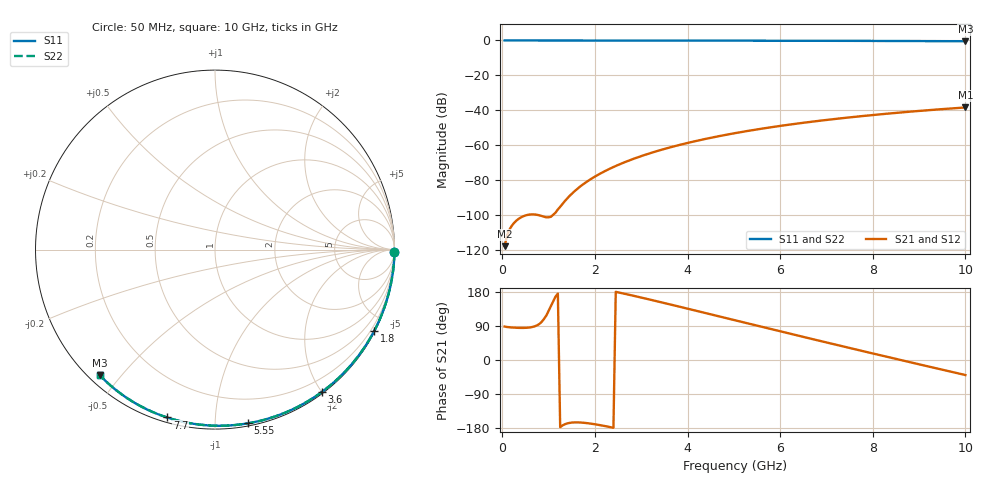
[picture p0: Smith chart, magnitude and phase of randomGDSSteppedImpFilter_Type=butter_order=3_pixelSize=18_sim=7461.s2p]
! freq	dB(S11)	phase(S11)	dB(S12)	phase(S12)
!  dB(S21)	phase(S21)	dB(S22)	phase(S22)
!S-par simulation data
#  GHz  S  DB  R 50
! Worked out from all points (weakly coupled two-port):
!   200 points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, 50 MHz to 10 GHz, reference 50 ohm
!   highest |S21| = -38.35 dB at 10 GHz (marker M1); lowest = -117.7 dB at 50 MHz (marker M2)
!   lowest |S11| = -0.4 dB at 10 GHz (marker M3), VSWR 38.80, Z = 1.54 - j22 ohm
!   |S11| at or under -10 dB: nowhere
!   |S22| runs from -0.4 to 0.0 dB; largest |S21 - S12| = 0
!   S11 on the Smith chart (normalised r, x): 50 MHz: open; 1.8 GHz: 0.04, -4.14; 3.6 GHz: 0.02, -2.00; 5.55 GHz: 0.02, -1.21; 7.7 GHz: 0.02, -0.75; 10 GHz: 0.03, -0.44
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0.05  -0.00 -0.8  -117.75 88.3  -117.75 88.3  -0.00 -0.8
0.9  -0.02 -13.7  -100.93 108.2  -100.93 108.2  -0.02 -13.7
1.75  -0.03 -26.4  -82.25 -165.6  -82.25 -165.6  -0.03 -26.4
1.8  -0.03 -27.2  -81.30 -166.2  -81.30 -166.2  -0.03 -27.2
1.85  -0.04 -27.9  -80.40 -166.9  -80.40 -166.9  -0.04 -27.9
1.9  -0.04 -28.6  -79.54 -167.7  -79.54 -167.7  -0.04 -28.6
2.05  -0.04 -30.9  -77.15 -170.6  -77.15 -170.6  -0.04 -30.9
2.25  -0.04 -33.8  -74.33 -175.1  -74.33 -175.1  -0.04 -33.8
2.45  -0.05 -36.7  -71.84 179.9  -71.84 179.9  -0.05 -36.7
2.65  -0.05 -39.6  -69.61 174.6  -69.61 174.6  -0.05 -39.6
3  -0.06 -44.6  -66.20 164.8  -66.20 164.8  -0.06 -44.6
3.4  -0.07 -50.3  -62.85 153.2  -62.85 153.2  -0.07 -50.3
3.6  -0.07 -53.1  -61.36 147.4  -61.36 147.4  -0.07 -53.1
4.3  -0.09 -62.8  -56.85 126.6  -56.85 126.6  -0.09 -62.8
5.05  -0.11 -72.8  -52.93 104.1  -52.93 104.1  -0.11 -72.8
5.55  -0.13 -79.3  -50.71 89.2  -50.71 89.2  -0.13 -79.3
6.1  -0.15 -86.3  -48.54 72.8  -48.54 72.8  -0.15 -86.3
6.7  -0.18 -93.8  -46.45 55.1  -46.45 55.1  -0.18 -93.8
7.7  -0.24 -105.9  -43.47 25.9  -43.47 25.9  -0.24 -105.9
8.35  -0.29 -113.6  -41.81 7.2  -41.81 7.2  -0.29 -113.6
9.15  -0.36 -122.8  -40.01 -15.6  -40.01 -15.6  -0.36 -122.8
10  -0.45 -132.5  -38.35 -39.7  -38.35 -39.7  -0.45 -132.5
